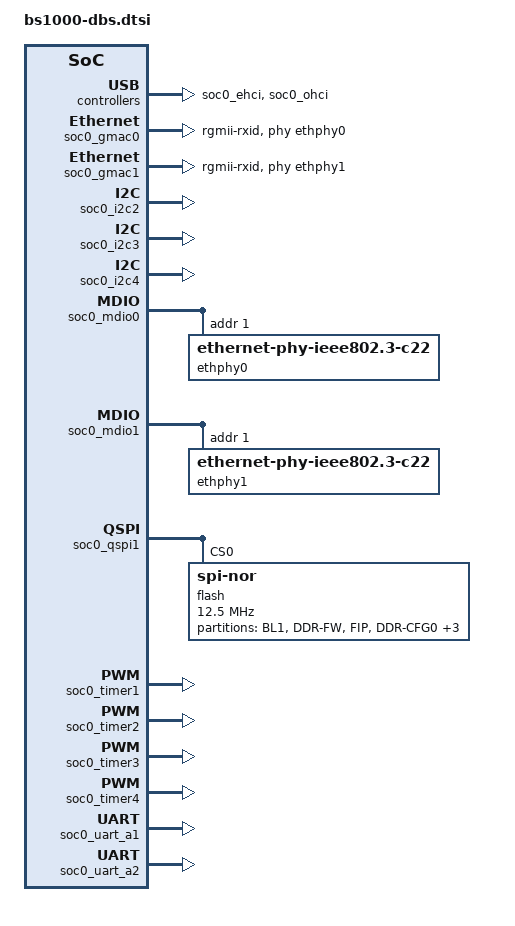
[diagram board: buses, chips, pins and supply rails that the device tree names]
// SPDX-License-Identifier: GPL-2.0
/*
 * Device tree include file for DBS-compatible boards
 * Copyright (C) 2021-2025 Baikal Electronics, JSC
 */

#include "bs1000.dtsi"

/ {
	aliases {
		ethernet0 = &soc0_gmac0;
		ethernet1 = &soc0_gmac1;
	};

	chosen { };
};

&soc0_ehci {
	status = "okay";
};

&soc0_gmac0 {
	status = "okay";
	phy-handle = <&ethphy0>;
	phy-mode = "rgmii-rxid";
};

&soc0_gmac1 {
	status = "okay";
	phy-handle = <&ethphy1>;
	phy-mode = "rgmii-rxid";
};

&soc0_gpio8_1 {
	status = "okay";
};

&soc0_gpio8_2 {
	status = "okay";
};

&soc0_gpio16 {
	status = "okay";
};

&soc0_gpio32 {
	status = "okay";
};

&soc0_i2c2 {
	status = "okay";
};

&soc0_i2c3 {
	status = "okay";
};

&soc0_i2c4 {
	status = "okay";
};

&soc0_mailbox_scmi_a2p {
	status = "okay";
};

&soc0_mailbox_scmi_p2a {
	status = "okay";
};

&soc0_mailbox_sms {
	status = "okay";
};

&soc0_mdio0 {
	reset-delay-us = <10200>;
	reset-post-delay-us = <1000>;

	ethphy0: ethernet-phy@1 {
		compatible = "ethernet-phy-ieee802.3-c22";
		reg = <0x1>;
	};
};

&soc0_mdio1 {
	reset-delay-us = <10200>;
	reset-post-delay-us = <1000>;

	ethphy1: ethernet-phy@1 {
		compatible = "ethernet-phy-ieee802.3-c22";
		reg = <0x1>;
	};
};

&soc0_ohci {
	status = "okay";
};

&soc0_qspi1 {
	status = "okay";

	flash@0 {
		compatible = "jedec,spi-nor";
		reg = <0>;
		spi-max-frequency = <12500000>;
		spi-tx-bus-width = <1>;
		spi-rx-bus-width = <1>;
		status = "okay";

		partitions {
			compatible = "fixed-partitions";
			#address-cells = <1>;
			#size-cells = <1>;

			partition@0 {
				label = "BL1";
				reg = <0x000000 0x20000>;
			};

			partition@20000 {
				label = "DDR-FW";
				reg = <0x020000 0x20000>;
			};

			partition@40000 {
				label = "FIP";
				reg = <0x40000 0x200000>;
			};

			partition@240000 {
				label = "DDR-CFG0";
				reg = <0x240000 0x40000>;
			};

			partition@280000 {
				label = "DDR-CFG1";
				reg = <0x280000 0x40000>;
			};

			partition@2c0000 {
				label = "UEFI vars";
				reg = <0x2c0000 0xc0000>;
			};

			partition@380000 {
				label = "FAT";
				reg = <0x380000 0x1c80000>;
			};
		};
	};
};

&soc0_timer1 {
	status = "okay";
};

&soc0_timer2 {
	status = "okay";
};

&soc0_timer3 {
	status = "okay";
};

&soc0_timer4 {
	status = "okay";
};

&soc0_uart_a1 {
	status = "okay";
};

&soc0_uart_a2 {
	status = "okay";
};

&soc0_wdt {
	status = "okay";
};
